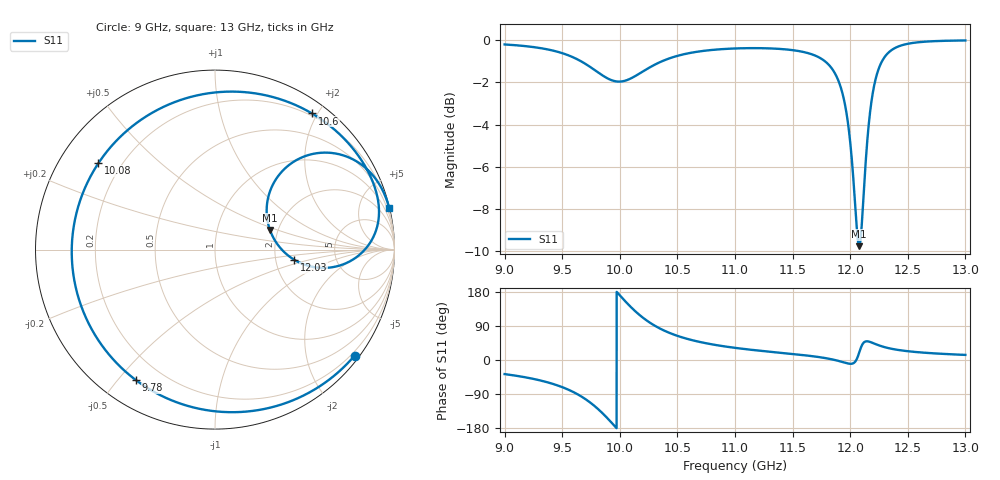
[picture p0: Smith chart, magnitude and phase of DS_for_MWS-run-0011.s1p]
! TOUCHSTONE file generated by CST DESIGN STUDIO
! Date and time: Tue Feb  4 17:48:27 2025
! Project name: C:\Work\MatlabApps\UnitCellOptimizationMatlab\CST\unitcell.cst
! Tree item: Tasks\Sweep1\SPara1\S-Parameters
! Header version: 2024
! Port assignment regex: !\s*Touchstone port\s*([0-9]+)\s*=\s*(CST MWS port|CST DES external port|CST DES block port)\s*(.+)\s* \(\"(.*)\"\)(\s*mode\s*([0-9]+))?.*
! Touchstone port assignment:
! Touchstone port 1 = CST DES external port 1 ("")
# GHz S MA R 50
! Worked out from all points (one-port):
!   4001 points, 9 GHz to 13 GHz, reference 50 ohm
!   lowest |S11| = -9.8 dB at 12.08 GHz (marker M1), VSWR 1.96, Z = 90.7 + j22.1 ohm
!   |S11| at or under -10 dB: nowhere
!   S11 on the Smith chart (normalised r, x): 9 GHz: 0.12, -2.97; 9.78 GHz: 0.11, -0.56; 10.08 GHz: 0.12, +0.33; 10.6 GHz: 0.17, +1.93; 12.03 GHz: 2.55, -0.37; 13 GHz: 0.07, +8.49
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9  0.9766 -37.2
9.282  0.9601 -52.0
9.5  0.9314 -71.6
9.659  0.8924 -95.0
9.78  0.8502 -121.2
9.839  0.8287 -137.3
9.902  0.8095 -156.6
10  0.7976 170.6
10.084  0.8086 143.4
10.167  0.8321 119.9
10.255  0.8603 99.7
10.376  0.8934 78.9
10.5  0.9177 63.7
10.6  0.9313 54.5
10.778  0.9465 42.5
11  0.9555 32.1
11.5  0.9468 15.9
11.839  0.8579 1.9
11.928  0.7567 -4.8
12  0.5736 -10.0
12.033  0.4466 -7.4
12.078  0.3251 19.5
12.11  0.4018 43.2
12.145  0.5629 49.4
12.202  0.7657 44.2
12.32  0.9269 32.2
12.5  0.9802 23.2
13  0.9981 13.4
